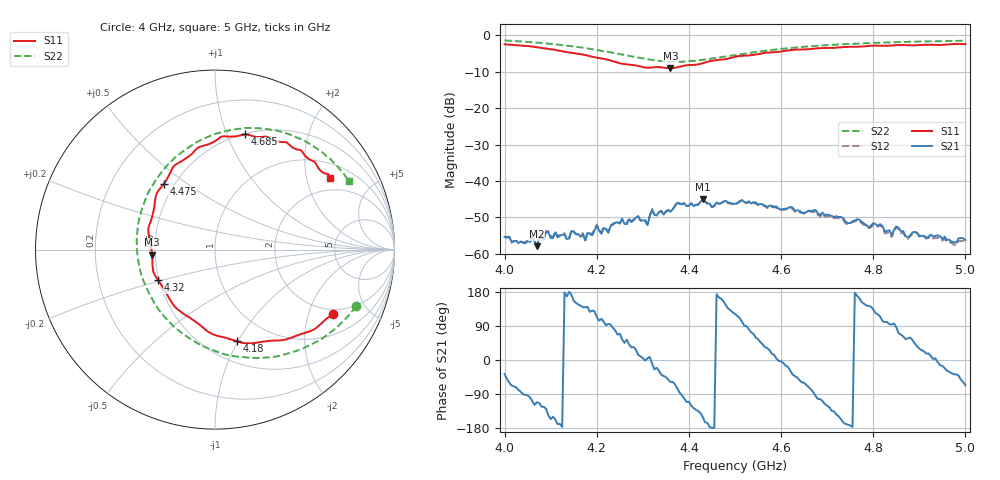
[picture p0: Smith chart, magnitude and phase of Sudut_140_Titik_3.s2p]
# Hz S RI R 50
! CMT, C1220, 16058040, 17.2.0/1
! Date: 15/08/2018 12:39:00
! Data: Format (Calibration Info)
! Freq  S11: Re/Im (F2)  S21: Re/Im (F2)  S12: Re/Im (F2)  S22: Re/Im (F2)
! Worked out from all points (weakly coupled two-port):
!   201 points, 4 GHz to 5 GHz, reference 50 ohm
!   highest |S21| = -45.05 dB at 4.43 GHz (marker M1); lowest = -57.9 dB at 4.07 GHz (marker M2)
!   lowest |S11| = -9.1 dB at 4.36 GHz (marker M3), VSWR 2.08, Z = 24 - j1.6 ohm
!   |S11| at or under -10 dB: nowhere
!   |S22| runs from -7.3 to -1.4 dB; largest |S21 - S12| = 0.00021
!   S11 on the Smith chart (normalised r, x): 4 GHz: 1.77, -2.92; 4.18 GHz: 0.70, -0.99; 4.32 GHz: 0.49, -0.19; 4.475 GHz: 0.44, +0.41; 4.685 GHz: 0.51, +1.16; 5 GHz: 1.50, +2.77
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4e9  0.6577 -0.3604  0.00135 -0.00103  0.00142 -0.000994  0.7854 -0.3152
4.06e9  0.5293 -0.4548  -0.000519 -0.00156  -0.000446 -0.00167  0.6651 -0.4444
4.07e9  0.5025 -0.463  -0.000466 -0.00119  -0.000461 -0.00119  0.6394 -0.4639
4.09e9  0.4382 -0.4859  -0.00125 -0.00155  -0.00128 -0.00161  0.5847 -0.5029
4.135e9  0.2866 -0.5102  -0.00156 0.000334  -0.00152 0.00036  0.4383 -0.5691
4.145e9  0.246 -0.5161  -0.00205 0.00028  -0.0021 0.00022  0.4008 -0.5809
4.17e9  0.1541 -0.5197  -0.0014 0.00119  -0.00151 0.00119  0.3052 -0.6001
4.175e9  0.1381 -0.5159  -0.00114 0.00101  -0.00118 0.000988  0.2838 -0.6015
4.18e9  0.121 -0.5111  -0.00149 0.00124  -0.00156 0.0012  0.2628 -0.6027
4.29e9  -0.2457 -0.2869  0.00316 0.000757  0.00321 0.000778  -0.2091 -0.4455
4.31e9  -0.2909 -0.2083  0.00248 0.000192  0.00253 0.000174  -0.2804 -0.3753
4.32e9  -0.3168 -0.1713  0.00396 -0.000634  0.00407 -0.000667  -0.3134 -0.3355
4.335e9  -0.344 -0.122  0.00329 -0.00179  0.00325 -0.00179  -0.3534 -0.2692
4.36e9  -0.3499 -0.0292  0.00203 -0.00321  0.00204 -0.00328  -0.407 -0.1519
4.375e9  -0.36 0.04  0.00126 -0.00487  0.00125 -0.00505  -0.4253 -0.0768
4.43e9  -0.3388 0.2339  -0.00486 -0.00277  -0.00481 -0.00265  -0.417 0.1923
4.475e9  -0.2867 0.3656  -0.00472 0.00223  -0.00466 0.00235  -0.3364 0.3761
4.5e9  -0.2423 0.4434  -0.00256 0.00415  -0.00252 0.00411  -0.277 0.4576
4.67e9  0.1422 0.6362  0.000348 -0.00393  0.000258 -0.00374  0.207 0.6777
4.685e9  0.1687 0.6424  -0.000768 -0.00333  -0.000779 -0.00312  0.2468 0.6756
4.835e9  0.4488 0.5604  -0.000156 0.0021  -0.000147 0.00194  0.5513 0.5745
5e9  0.6403 0.3979  0.00061 -0.00142  0.000601 -0.00132  0.7467 0.3817
